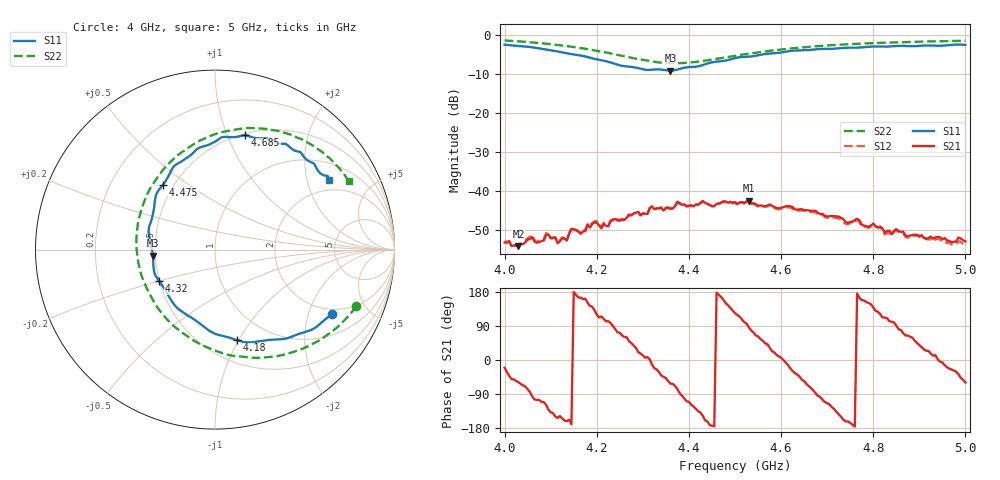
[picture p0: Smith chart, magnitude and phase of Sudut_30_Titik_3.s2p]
# Hz S RI R 50
! CMT, C1220, 16058040, 17.2.0/1
! Date: 15/08/2018 12:37:01
! Data: Format (Calibration Info)
! Freq  S11: Re/Im (F2)  S21: Re/Im (F2)  S12: Re/Im (F2)  S22: Re/Im (F2)
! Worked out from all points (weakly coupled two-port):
!   201 points, 4 GHz to 5 GHz, reference 50 ohm
!   highest |S21| = -42.48 dB at 4.53 GHz (marker M1); lowest = -54.1 dB at 4.03 GHz (marker M2)
!   lowest |S11| = -9.2 dB at 4.36 GHz (marker M3), VSWR 2.06, Z = 24.3 - j1.85 ohm
!   |S11| at or under -10 dB: nowhere
!   |S22| runs from -7.3 to -1.4 dB; largest |S21 - S12| = 0.0003
!   S11 on the Smith chart (normalised r, x): 4 GHz: 1.77, -2.88; 4.18 GHz: 0.71, -0.99; 4.32 GHz: 0.50, -0.20; 4.475 GHz: 0.44, +0.40; 4.685 GHz: 0.52, +1.16; 5 GHz: 1.57, +2.74
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4e9  0.6527 -0.3609  0.00206 -0.000765  0.00214 -0.000693  0.7855 -0.3162
4.03e9  0.596 -0.4049  0.00102 -0.00168  0.00117 -0.00169  0.7314 -0.3833
4.06e9  0.5245 -0.4516  -0.000281 -0.00254  -0.000216 -0.00271  0.6637 -0.447
4.07e9  0.4978 -0.4599  -0.000579 -0.0021  -0.000504 -0.00217  0.6374 -0.4663
4.095e9  0.4187 -0.4884  -0.00182 -0.0021  -0.00179 -0.0022  0.568 -0.5133
4.115e9  0.3536 -0.5  -0.00191 -0.000976  -0.00197 -0.00105  0.5038 -0.5447
4.135e9  0.2852 -0.5053  -0.00219 -0.000747  -0.00223 -0.000794  0.4339 -0.5706
4.145e9  0.246 -0.5108  -0.00323 -0.000578  -0.0033 -0.000679  0.3959 -0.5823
4.17e9  0.1552 -0.5137  -0.00286 0.000994  -0.00292 0.000951  0.3003 -0.5987
4.18e9  0.1227 -0.5047  -0.00326 0.0018  -0.00334 0.00168  0.258 -0.6017
4.21e9  0.0138 -0.4735  -0.00141 0.00302  -0.00156 0.00309  0.1304 -0.595
4.32e9  -0.3117 -0.1754  0.00616 -0.00136  0.00629 -0.00141  -0.3147 -0.3313
4.335e9  -0.3381 -0.1266  0.00511 -0.00314  0.00514 -0.0032  -0.3544 -0.2653
4.36e9  -0.3457 -0.0334  0.00272 -0.00521  0.00281 -0.00535  -0.4083 -0.1481
4.375e9  -0.357 0.035  0.00162 -0.00701  0.00152 -0.00718  -0.4273 -0.073
4.475e9  -0.2893 0.3622  -0.00688 0.00267  -0.00676 0.00278  -0.3336 0.3832
4.5e9  -0.2436 0.4402  -0.004 0.00601  -0.00394 0.00588  -0.272 0.4642
4.53e9  -0.1886 0.4902  0.000475 0.0075  0.000629 0.00735  -0.1874 0.541
4.67e9  0.142 0.632  0.000928 -0.00552  0.000817 -0.00533  0.211 0.677
4.685e9  0.1682 0.6368  -0.000691 -0.00503  -0.000728 -0.00488  0.2505 0.675
4.835e9  0.4464 0.5508  -0.000666 0.00303  -0.000647 0.00279  0.554 0.5737
5e9  0.6357 0.3884  0.00115 -0.00195  0.00118 -0.00173  0.7479 0.3797
